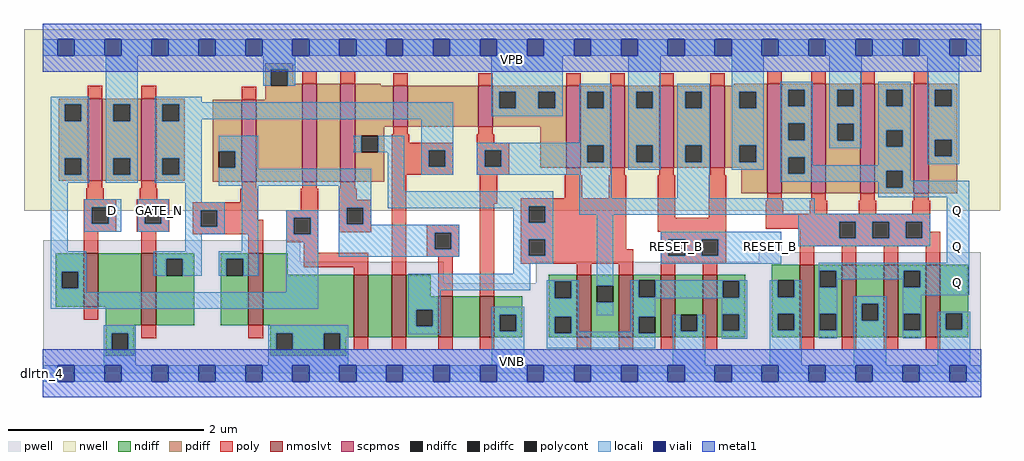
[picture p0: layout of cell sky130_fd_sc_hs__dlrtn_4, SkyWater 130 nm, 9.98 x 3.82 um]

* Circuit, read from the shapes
.subckt sky130_fd_sc_hs__dlrtn_4 D GATE_N RESET_B VGND VNB VPB VPWR Q
XM1 VGND D n1 VNB sky130_fd_pr__nfet_01v8_lvt w=0.55 l=0.15
XM2 n2 GATE_N VGND VNB sky130_fd_pr__nfet_01v8_lvt w=0.74 l=0.15
XM3 VGND n2 n3 VNB sky130_fd_pr__nfet_01v8_lvt w=0.74 l=0.15
XM4 n4 n1 VGND VNB sky130_fd_pr__nfet_01v8_lvt w=0.64 l=0.15
XM5 n5 n2 n4 VNB sky130_fd_pr__nfet_01v8_lvt w=0.64 l=0.15
XM6 n6 n3 n5 VNB sky130_fd_pr__nfet_01v8_lvt w=0.42 l=0.15
XM7 VGND n7 n6 VNB sky130_fd_pr__nfet_01v8_lvt w=0.42 l=0.15
XM8 n7 n5 n8 VNB sky130_fd_pr__nfet_01v8_lvt w=0.64 l=0.15 m=2
XM9 VGND RESET_B n8 VNB sky130_fd_pr__nfet_01v8_lvt w=0.64 l=0.15 m=2
XM10 Q n7 VGND VNB sky130_fd_pr__nfet_01v8_lvt w=0.74 l=0.15 m=4
XM11 VPWR D n1 VPB sky130_fd_pr__pfet_01v8 w=0.84 l=0.15
XM12 n2 GATE_N VPWR VPB sky130_fd_pr__pfet_01v8 w=0.84 l=0.15
XM13 VPWR n2 n3 VPB sky130_fd_pr__pfet_01v8 w=0.84 l=0.15
XM14 n9 n1 VPWR VPB sky130_fd_pr__pfet_01v8 w=1 l=0.15
XM15 n5 n3 n9 VPB sky130_fd_pr__pfet_01v8 w=1 l=0.15
XM16 n10 n2 n5 VPB sky130_fd_pr__pfet_01v8 w=0.42 l=0.15
XM17 VPWR n7 n10 VPB sky130_fd_pr__pfet_01v8 w=0.42 l=0.15
XM18 n7 n5 VPWR VPB sky130_fd_pr__pfet_01v8 w=0.84 l=0.15 m=2
XM19 n7 RESET_B VPWR VPB sky130_fd_pr__pfet_01v8 w=0.84 l=0.15 m=2
XM20 Q n7 VPWR VPB sky130_fd_pr__pfet_01v8 w=1.12 l=0.15 m=4
.ends

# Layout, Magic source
magic
tech sky130A
magscale 1 2
<< nwell >>
rect -38 332 1958 704
<< pwell >>
rect 1 228 527 272
rect 1465 228 1919 248
rect 1 184 820 228
rect 1009 184 1919 228
rect 1 49 1919 184
rect 0 0 1920 49
<< scpmos >>
rect 92 394 122 562
rect 202 394 232 562
rect 407 392 437 560
rect 531 392 561 592
rect 609 392 639 592
rect 717 504 747 588
rect 891 504 921 588
rect 1071 420 1101 588
rect 1161 420 1191 588
rect 1261 420 1291 588
rect 1365 420 1395 588
rect 1482 368 1512 592
rect 1572 368 1602 592
rect 1672 368 1702 592
rect 1782 368 1812 592
<< nmoslvt >>
rect 84 136 114 246
rect 202 98 232 246
rect 421 98 451 246
rect 636 74 666 202
rect 714 74 744 202
rect 809 74 839 158
rect 894 74 924 158
rect 1092 74 1122 202
rect 1178 74 1208 202
rect 1264 74 1294 202
rect 1350 74 1380 202
rect 1548 74 1578 222
rect 1634 74 1664 222
rect 1720 74 1750 222
rect 1806 74 1836 222
<< ndiff >>
rect 27 208 84 246
rect 27 174 39 208
rect 73 174 84 208
rect 27 136 84 174
rect 114 136 202 246
rect 129 98 202 136
rect 232 234 310 246
rect 232 200 253 234
rect 287 200 310 234
rect 232 98 310 200
rect 364 234 421 246
rect 364 200 376 234
rect 410 200 421 234
rect 364 98 421 200
rect 451 202 501 246
rect 451 98 636 202
rect 129 82 187 98
rect 129 48 141 82
rect 175 48 187 82
rect 466 82 636 98
rect 129 36 187 48
rect 466 48 478 82
rect 512 48 575 82
rect 609 74 636 82
rect 666 74 714 202
rect 744 158 794 202
rect 1035 188 1092 202
rect 744 130 809 158
rect 744 96 764 130
rect 798 96 809 130
rect 744 74 809 96
rect 839 74 894 158
rect 924 120 981 158
rect 924 86 935 120
rect 969 86 981 120
rect 924 74 981 86
rect 1035 154 1047 188
rect 1081 154 1092 188
rect 1035 116 1092 154
rect 1035 82 1047 116
rect 1081 82 1092 116
rect 1035 74 1092 82
rect 1122 179 1178 202
rect 1122 145 1133 179
rect 1167 145 1178 179
rect 1122 74 1178 145
rect 1208 190 1264 202
rect 1208 156 1219 190
rect 1253 156 1264 190
rect 1208 116 1264 156
rect 1208 82 1219 116
rect 1253 82 1264 116
rect 1208 74 1264 82
rect 1294 120 1350 202
rect 1294 86 1305 120
rect 1339 86 1350 120
rect 1294 74 1350 86
rect 1380 189 1437 202
rect 1380 155 1391 189
rect 1425 155 1437 189
rect 1380 121 1437 155
rect 1380 87 1391 121
rect 1425 87 1437 121
rect 1380 74 1437 87
rect 1491 190 1548 222
rect 1491 156 1503 190
rect 1537 156 1548 190
rect 1491 122 1548 156
rect 1491 88 1503 122
rect 1537 88 1548 122
rect 1491 74 1548 88
rect 1578 210 1634 222
rect 1578 176 1589 210
rect 1623 176 1634 210
rect 1578 122 1634 176
rect 1578 88 1589 122
rect 1623 88 1634 122
rect 1578 74 1634 88
rect 1664 142 1720 222
rect 1664 108 1675 142
rect 1709 108 1720 142
rect 1664 74 1720 108
rect 1750 210 1806 222
rect 1750 176 1761 210
rect 1795 176 1806 210
rect 1750 122 1806 176
rect 1750 88 1761 122
rect 1795 88 1806 122
rect 1750 74 1806 88
rect 1836 123 1893 222
rect 1836 89 1847 123
rect 1881 89 1893 123
rect 1836 74 1893 89
rect 609 48 621 74
rect 466 36 621 48
<< pdiff >>
rect 455 622 513 634
rect 455 588 467 622
rect 501 592 513 622
rect 501 588 531 592
rect 33 550 92 562
rect 33 516 45 550
rect 79 516 92 550
rect 33 440 92 516
rect 33 406 45 440
rect 79 406 92 440
rect 33 394 92 406
rect 122 550 202 562
rect 122 516 145 550
rect 179 516 202 550
rect 122 440 202 516
rect 122 406 145 440
rect 179 406 202 440
rect 122 394 202 406
rect 232 550 291 562
rect 455 560 531 588
rect 232 516 245 550
rect 279 516 291 550
rect 232 440 291 516
rect 232 406 245 440
rect 279 406 291 440
rect 232 394 291 406
rect 348 454 407 560
rect 348 420 360 454
rect 394 420 407 454
rect 348 392 407 420
rect 437 392 531 560
rect 561 392 609 592
rect 639 588 692 592
rect 1413 588 1482 592
rect 639 504 717 588
rect 747 504 891 588
rect 921 576 1071 588
rect 921 542 934 576
rect 968 542 1014 576
rect 1048 542 1071 576
rect 921 504 1071 542
rect 639 486 699 504
rect 639 452 652 486
rect 686 452 699 486
rect 639 392 699 452
rect 1018 420 1071 504
rect 1101 576 1161 588
rect 1101 542 1114 576
rect 1148 542 1161 576
rect 1101 466 1161 542
rect 1101 432 1114 466
rect 1148 432 1161 466
rect 1101 420 1161 432
rect 1191 576 1261 588
rect 1191 542 1214 576
rect 1248 542 1261 576
rect 1191 466 1261 542
rect 1191 432 1214 466
rect 1248 432 1261 466
rect 1191 420 1261 432
rect 1291 576 1365 588
rect 1291 542 1314 576
rect 1348 542 1365 576
rect 1291 466 1365 542
rect 1291 432 1314 466
rect 1348 432 1365 466
rect 1291 420 1365 432
rect 1395 576 1482 588
rect 1395 542 1425 576
rect 1459 542 1482 576
rect 1395 466 1482 542
rect 1395 432 1425 466
rect 1459 432 1482 466
rect 1395 420 1482 432
rect 1429 368 1482 420
rect 1512 580 1572 592
rect 1512 546 1525 580
rect 1559 546 1572 580
rect 1512 511 1572 546
rect 1512 477 1525 511
rect 1559 477 1572 511
rect 1512 442 1572 477
rect 1512 408 1525 442
rect 1559 408 1572 442
rect 1512 368 1572 408
rect 1602 580 1672 592
rect 1602 546 1625 580
rect 1659 546 1672 580
rect 1602 510 1672 546
rect 1602 476 1625 510
rect 1659 476 1672 510
rect 1602 368 1672 476
rect 1702 580 1782 592
rect 1702 546 1725 580
rect 1759 546 1782 580
rect 1702 497 1782 546
rect 1702 463 1725 497
rect 1759 463 1782 497
rect 1702 414 1782 463
rect 1702 380 1725 414
rect 1759 380 1782 414
rect 1702 368 1782 380
rect 1812 580 1871 592
rect 1812 546 1825 580
rect 1859 546 1871 580
rect 1812 478 1871 546
rect 1812 444 1825 478
rect 1859 444 1871 478
rect 1812 368 1871 444
<< ndiffc >>
rect 39 174 73 208
rect 253 200 287 234
rect 376 200 410 234
rect 141 48 175 82
rect 478 48 512 82
rect 575 48 609 82
rect 764 96 798 130
rect 935 86 969 120
rect 1047 154 1081 188
rect 1047 82 1081 116
rect 1133 145 1167 179
rect 1219 156 1253 190
rect 1219 82 1253 116
rect 1305 86 1339 120
rect 1391 155 1425 189
rect 1391 87 1425 121
rect 1503 156 1537 190
rect 1503 88 1537 122
rect 1589 176 1623 210
rect 1589 88 1623 122
rect 1675 108 1709 142
rect 1761 176 1795 210
rect 1761 88 1795 122
rect 1847 89 1881 123
<< pdiffc >>
rect 467 588 501 622
rect 45 516 79 550
rect 45 406 79 440
rect 145 516 179 550
rect 145 406 179 440
rect 245 516 279 550
rect 245 406 279 440
rect 360 420 394 454
rect 934 542 968 576
rect 1014 542 1048 576
rect 652 452 686 486
rect 1114 542 1148 576
rect 1114 432 1148 466
rect 1214 542 1248 576
rect 1214 432 1248 466
rect 1314 542 1348 576
rect 1314 432 1348 466
rect 1425 542 1459 576
rect 1425 432 1459 466
rect 1525 546 1559 580
rect 1525 477 1559 511
rect 1525 408 1559 442
rect 1625 546 1659 580
rect 1625 476 1659 510
rect 1725 546 1759 580
rect 1725 463 1759 497
rect 1725 380 1759 414
rect 1825 546 1859 580
rect 1825 444 1859 478
<< poly >>
rect 531 592 561 618
rect 609 592 639 618
rect 92 562 122 588
rect 202 562 232 588
rect 407 560 437 586
rect 92 379 122 394
rect 202 379 232 394
rect 717 588 747 614
rect 891 588 921 614
rect 1071 588 1101 614
rect 1161 588 1191 614
rect 1261 588 1291 614
rect 1365 588 1395 614
rect 1482 592 1512 618
rect 1572 592 1602 618
rect 1672 592 1702 618
rect 1782 592 1812 618
rect 717 489 747 504
rect 891 489 921 504
rect 714 472 750 489
rect 888 472 924 489
rect 714 456 840 472
rect 714 422 790 456
rect 824 422 840 456
rect 714 406 840 422
rect 888 456 954 472
rect 888 422 904 456
rect 938 422 954 456
rect 888 406 954 422
rect 89 356 125 379
rect 199 356 235 379
rect 407 377 437 392
rect 531 377 561 392
rect 609 377 639 392
rect 84 340 151 356
rect 84 306 101 340
rect 135 306 151 340
rect 84 290 151 306
rect 193 340 259 356
rect 404 350 440 377
rect 193 306 209 340
rect 243 306 259 340
rect 193 290 259 306
rect 307 334 440 350
rect 528 334 564 377
rect 307 300 323 334
rect 357 314 440 334
rect 498 318 564 334
rect 357 300 451 314
rect 84 246 114 290
rect 202 246 232 290
rect 307 284 451 300
rect 421 246 451 284
rect 498 284 514 318
rect 548 284 564 318
rect 606 355 642 377
rect 606 339 672 355
rect 606 305 622 339
rect 656 305 672 339
rect 606 289 672 305
rect 498 268 564 284
rect 534 247 564 268
rect 84 110 114 136
rect 534 217 666 247
rect 636 202 666 217
rect 714 202 744 406
rect 894 347 930 406
rect 1071 405 1101 420
rect 1161 405 1191 420
rect 1261 405 1291 420
rect 1365 405 1395 420
rect 1068 358 1104 405
rect 1158 358 1194 405
rect 786 288 852 304
rect 786 254 802 288
rect 836 254 852 288
rect 786 238 852 254
rect 202 72 232 98
rect 421 72 451 98
rect 809 158 839 238
rect 894 158 924 347
rect 978 342 1194 358
rect 978 308 994 342
rect 1028 308 1194 342
rect 978 274 1194 308
rect 1258 318 1294 405
rect 1362 318 1398 405
rect 1482 353 1512 368
rect 1572 353 1602 368
rect 1672 353 1702 368
rect 1782 353 1812 368
rect 1258 290 1398 318
rect 1479 326 1515 353
rect 1569 326 1605 353
rect 1669 326 1705 353
rect 1779 326 1815 353
rect 1479 310 1815 326
rect 1479 296 1629 310
rect 978 240 994 274
rect 1028 254 1194 274
rect 1264 274 1398 290
rect 1028 240 1208 254
rect 978 224 1208 240
rect 1092 202 1122 224
rect 1178 202 1208 224
rect 1264 240 1280 274
rect 1314 240 1348 274
rect 1382 240 1398 274
rect 1264 224 1398 240
rect 1548 276 1629 296
rect 1663 276 1697 310
rect 1731 276 1765 310
rect 1799 290 1815 310
rect 1799 276 1836 290
rect 1548 260 1836 276
rect 1264 202 1294 224
rect 1350 202 1380 224
rect 1548 222 1578 260
rect 1634 222 1664 260
rect 1720 222 1750 260
rect 1806 222 1836 260
rect 636 48 666 74
rect 714 48 744 74
rect 809 48 839 74
rect 894 48 924 74
rect 1092 48 1122 74
rect 1178 48 1208 74
rect 1264 48 1294 74
rect 1350 48 1380 74
rect 1548 48 1578 74
rect 1634 48 1664 74
rect 1720 48 1750 74
rect 1806 48 1836 74
<< polycont >>
rect 790 422 824 456
rect 904 422 938 456
rect 101 306 135 340
rect 209 306 243 340
rect 323 300 357 334
rect 514 284 548 318
rect 622 305 656 339
rect 802 254 836 288
rect 994 308 1028 342
rect 994 240 1028 274
rect 1280 240 1314 274
rect 1348 240 1382 274
rect 1629 276 1663 310
rect 1697 276 1731 310
rect 1765 276 1799 310
<< locali >>
rect 0 649 31 683
rect 65 649 127 683
rect 161 649 223 683
rect 257 649 319 683
rect 353 649 415 683
rect 449 649 511 683
rect 545 649 607 683
rect 641 649 703 683
rect 737 649 799 683
rect 833 649 895 683
rect 929 649 991 683
rect 1025 649 1087 683
rect 1121 649 1183 683
rect 1217 649 1279 683
rect 1313 649 1375 683
rect 1409 649 1471 683
rect 1505 649 1567 683
rect 1601 649 1663 683
rect 1697 649 1759 683
rect 1793 649 1855 683
rect 1889 649 1920 683
rect 17 550 95 566
rect 17 516 45 550
rect 79 516 95 550
rect 17 440 95 516
rect 17 406 45 440
rect 79 406 95 440
rect 17 390 95 406
rect 129 550 195 649
rect 451 622 517 649
rect 451 588 467 622
rect 501 588 517 622
rect 918 576 1064 649
rect 129 516 145 550
rect 179 516 195 550
rect 129 440 195 516
rect 129 406 145 440
rect 179 406 195 440
rect 129 390 195 406
rect 229 554 326 566
rect 229 550 840 554
rect 229 516 245 550
rect 279 520 840 550
rect 918 542 934 576
rect 968 542 1014 576
rect 1048 542 1064 576
rect 918 526 1064 542
rect 1098 576 1164 592
rect 1098 542 1114 576
rect 1148 542 1164 576
rect 279 516 326 520
rect 229 440 326 516
rect 229 406 245 440
rect 279 406 326 440
rect 229 390 326 406
rect 17 250 51 390
rect 85 340 161 356
rect 85 306 101 340
rect 135 306 161 340
rect 85 290 161 306
rect 195 340 258 356
rect 195 306 209 340
rect 243 306 258 340
rect 195 290 258 306
rect 292 350 326 390
rect 360 454 441 486
rect 394 420 441 454
rect 636 452 652 486
rect 686 452 740 486
rect 360 418 441 420
rect 360 384 672 418
rect 292 334 373 350
rect 292 300 323 334
rect 357 300 373 334
rect 292 284 373 300
rect 292 250 326 284
rect 407 250 441 384
rect 606 339 672 384
rect 17 208 89 250
rect 17 174 39 208
rect 73 174 89 208
rect 227 234 326 250
rect 227 200 253 234
rect 287 200 326 234
rect 360 234 441 250
rect 360 200 376 234
rect 410 200 441 234
rect 498 318 564 334
rect 498 284 514 318
rect 548 284 564 318
rect 17 166 89 174
rect 498 166 564 284
rect 606 305 622 339
rect 656 305 672 339
rect 706 372 740 452
rect 774 456 840 520
rect 1098 472 1164 542
rect 774 422 790 456
rect 824 422 840 456
rect 774 406 840 422
rect 888 466 1164 472
rect 888 456 1114 466
rect 888 422 904 456
rect 938 432 1114 456
rect 1148 432 1164 466
rect 938 422 1164 432
rect 888 406 1164 422
rect 1198 576 1264 649
rect 1198 542 1214 576
rect 1248 542 1264 576
rect 1198 466 1264 542
rect 1198 432 1214 466
rect 1248 432 1264 466
rect 1198 416 1264 432
rect 1298 576 1364 592
rect 1298 542 1314 576
rect 1348 542 1364 576
rect 1298 466 1364 542
rect 1298 432 1314 466
rect 1348 432 1364 466
rect 706 342 1044 372
rect 706 338 994 342
rect 606 304 672 305
rect 963 308 994 338
rect 1028 308 1044 342
rect 1098 358 1164 406
rect 1298 358 1364 432
rect 1409 576 1475 649
rect 1409 542 1425 576
rect 1459 542 1475 576
rect 1409 466 1475 542
rect 1409 432 1425 466
rect 1459 432 1475 466
rect 1409 416 1475 432
rect 1509 580 1575 596
rect 1509 546 1525 580
rect 1559 546 1575 580
rect 1509 511 1575 546
rect 1509 477 1525 511
rect 1559 477 1575 511
rect 1509 442 1575 477
rect 1609 580 1675 649
rect 1609 546 1625 580
rect 1659 546 1675 580
rect 1609 510 1675 546
rect 1609 476 1625 510
rect 1659 476 1675 510
rect 1609 460 1675 476
rect 1709 580 1775 596
rect 1709 546 1725 580
rect 1759 546 1775 580
rect 1709 497 1775 546
rect 1709 463 1725 497
rect 1759 463 1775 497
rect 1509 408 1525 442
rect 1559 426 1575 442
rect 1709 426 1775 463
rect 1809 580 1875 649
rect 1809 546 1825 580
rect 1859 546 1875 580
rect 1809 478 1875 546
rect 1809 444 1825 478
rect 1859 444 1875 478
rect 1809 428 1875 444
rect 1559 414 1775 426
rect 1559 408 1725 414
rect 1509 392 1725 408
rect 1709 380 1725 392
rect 1759 394 1775 414
rect 1759 380 1895 394
rect 1709 360 1895 380
rect 1098 326 1579 358
rect 1098 324 1815 326
rect 606 288 852 304
rect 606 254 802 288
rect 836 254 852 288
rect 606 238 852 254
rect 963 274 1044 308
rect 963 240 994 274
rect 1028 240 1044 274
rect 963 224 1044 240
rect 963 204 997 224
rect 17 132 564 166
rect 748 170 997 204
rect 1031 188 1097 190
rect 748 130 814 170
rect 1031 154 1047 188
rect 1081 154 1097 188
rect 125 82 191 98
rect 125 48 141 82
rect 175 48 191 82
rect 125 17 191 48
rect 462 82 625 98
rect 462 48 478 82
rect 512 48 575 82
rect 609 48 625 82
rect 748 96 764 130
rect 798 96 814 130
rect 748 80 814 96
rect 919 120 985 136
rect 919 86 935 120
rect 969 86 985 120
rect 462 17 625 48
rect 919 17 985 86
rect 1031 116 1097 154
rect 1133 179 1167 324
rect 1545 310 1815 324
rect 1264 274 1511 290
rect 1264 240 1280 274
rect 1314 240 1348 274
rect 1382 240 1511 274
rect 1545 276 1629 310
rect 1663 276 1697 310
rect 1731 276 1765 310
rect 1799 276 1815 310
rect 1545 260 1815 276
rect 1264 224 1511 240
rect 1849 226 1895 360
rect 1587 210 1895 226
rect 1133 119 1167 145
rect 1203 156 1219 190
rect 1253 189 1441 190
rect 1253 156 1391 189
rect 1203 155 1391 156
rect 1425 155 1441 189
rect 1203 154 1441 155
rect 1031 82 1047 116
rect 1081 85 1097 116
rect 1203 116 1253 154
rect 1389 121 1441 154
rect 1203 85 1219 116
rect 1081 82 1219 85
rect 1031 51 1253 82
rect 1289 86 1305 120
rect 1339 86 1355 120
rect 1289 17 1355 86
rect 1389 87 1391 121
rect 1425 87 1441 121
rect 1389 71 1441 87
rect 1487 156 1503 190
rect 1537 156 1553 190
rect 1487 122 1553 156
rect 1487 88 1503 122
rect 1537 88 1553 122
rect 1487 17 1553 88
rect 1587 176 1589 210
rect 1623 192 1761 210
rect 1623 176 1625 192
rect 1587 122 1625 176
rect 1759 176 1761 192
rect 1795 176 1895 210
rect 1759 160 1895 176
rect 1587 88 1589 122
rect 1623 88 1625 122
rect 1587 72 1625 88
rect 1659 142 1725 158
rect 1659 108 1675 142
rect 1709 108 1725 142
rect 1659 17 1725 108
rect 1759 122 1797 160
rect 1759 88 1761 122
rect 1795 88 1797 122
rect 1759 72 1797 88
rect 1831 123 1897 126
rect 1831 89 1847 123
rect 1881 89 1897 123
rect 1831 17 1897 89
rect 0 -17 31 17
rect 65 -17 127 17
rect 161 -17 223 17
rect 257 -17 319 17
rect 353 -17 415 17
rect 449 -17 511 17
rect 545 -17 607 17
rect 641 -17 703 17
rect 737 -17 799 17
rect 833 -17 895 17
rect 929 -17 991 17
rect 1025 -17 1087 17
rect 1121 -17 1183 17
rect 1217 -17 1279 17
rect 1313 -17 1375 17
rect 1409 -17 1471 17
rect 1505 -17 1567 17
rect 1601 -17 1663 17
rect 1697 -17 1759 17
rect 1793 -17 1855 17
rect 1889 -17 1920 17
<< viali >>
rect 31 649 65 683
rect 127 649 161 683
rect 223 649 257 683
rect 319 649 353 683
rect 415 649 449 683
rect 511 649 545 683
rect 607 649 641 683
rect 703 649 737 683
rect 799 649 833 683
rect 895 649 929 683
rect 991 649 1025 683
rect 1087 649 1121 683
rect 1183 649 1217 683
rect 1279 649 1313 683
rect 1375 649 1409 683
rect 1471 649 1505 683
rect 1567 649 1601 683
rect 1663 649 1697 683
rect 1759 649 1793 683
rect 1855 649 1889 683
rect 31 -17 65 17
rect 127 -17 161 17
rect 223 -17 257 17
rect 319 -17 353 17
rect 415 -17 449 17
rect 511 -17 545 17
rect 607 -17 641 17
rect 703 -17 737 17
rect 799 -17 833 17
rect 895 -17 929 17
rect 991 -17 1025 17
rect 1087 -17 1121 17
rect 1183 -17 1217 17
rect 1279 -17 1313 17
rect 1375 -17 1409 17
rect 1471 -17 1505 17
rect 1567 -17 1601 17
rect 1663 -17 1697 17
rect 1759 -17 1793 17
rect 1855 -17 1889 17
<< metal1 >>
rect 0 683 1920 715
rect 0 649 31 683
rect 65 649 127 683
rect 161 649 223 683
rect 257 649 319 683
rect 353 649 415 683
rect 449 649 511 683
rect 545 649 607 683
rect 641 649 703 683
rect 737 649 799 683
rect 833 649 895 683
rect 929 649 991 683
rect 1025 649 1087 683
rect 1121 649 1183 683
rect 1217 649 1279 683
rect 1313 649 1375 683
rect 1409 649 1471 683
rect 1505 649 1567 683
rect 1601 649 1663 683
rect 1697 649 1759 683
rect 1793 649 1855 683
rect 1889 649 1920 683
rect 0 617 1920 649
rect 0 17 1920 49
rect 0 -17 31 17
rect 65 -17 127 17
rect 161 -17 223 17
rect 257 -17 319 17
rect 353 -17 415 17
rect 449 -17 511 17
rect 545 -17 607 17
rect 641 -17 703 17
rect 737 -17 799 17
rect 833 -17 895 17
rect 929 -17 991 17
rect 1025 -17 1087 17
rect 1121 -17 1183 17
rect 1217 -17 1279 17
rect 1313 -17 1375 17
rect 1409 -17 1471 17
rect 1505 -17 1567 17
rect 1601 -17 1663 17
rect 1697 -17 1759 17
rect 1793 -17 1855 17
rect 1889 -17 1920 17
rect 0 -49 1920 -17
<< labels >>
rlabel comment s 0 0 0 0 4 dlrtn_4
flabel pwell s 0 0 1920 49 0 FreeSans 200 0 0 0 VNB
port 5 nsew ground bidirectional
flabel nwell s 0 617 1920 666 0 FreeSans 200 0 0 0 VPB
port 6 nsew power bidirectional
flabel metal1 s 0 617 1920 666 0 FreeSans 340 0 0 0 VPWR
port 7 nsew power bidirectional
flabel metal1 s 0 0 1920 49 0 FreeSans 340 0 0 0 VGND
port 4 nsew ground bidirectional
flabel locali s 127 316 161 350 0 FreeSans 340 0 0 0 D
port 1 nsew signal input
flabel locali s 223 316 257 350 0 FreeSans 340 0 0 0 GATE_N
port 2 nsew clock input
flabel locali s 1279 242 1313 276 0 FreeSans 340 0 0 0 RESET_B
port 3 nsew signal input
flabel locali s 1375 242 1409 276 0 FreeSans 340 0 0 0 RESET_B
port 3 nsew signal input
flabel locali s 1471 242 1505 276 0 FreeSans 340 0 0 0 RESET_B
port 3 nsew signal input
flabel locali s 1855 168 1889 202 0 FreeSans 340 0 0 0 Q
port 8 nsew signal output
flabel locali s 1855 242 1889 276 0 FreeSans 340 0 0 0 Q
port 8 nsew signal output
flabel locali s 1855 316 1889 350 0 FreeSans 340 0 0 0 Q
port 8 nsew signal output
<< properties >>
string LEFsite unit
string LEFclass CORE
string FIXED_BBOX 0 0 1920 666
string GDS_FILE $PDKPATH/libs.ref/sky130_fd_sc_hs/gds/sky130_fd_sc_hs.gds
string LEFsymmetry X Y
string GDS_END 1702038
string GDS_START 1687794
<< end >>
